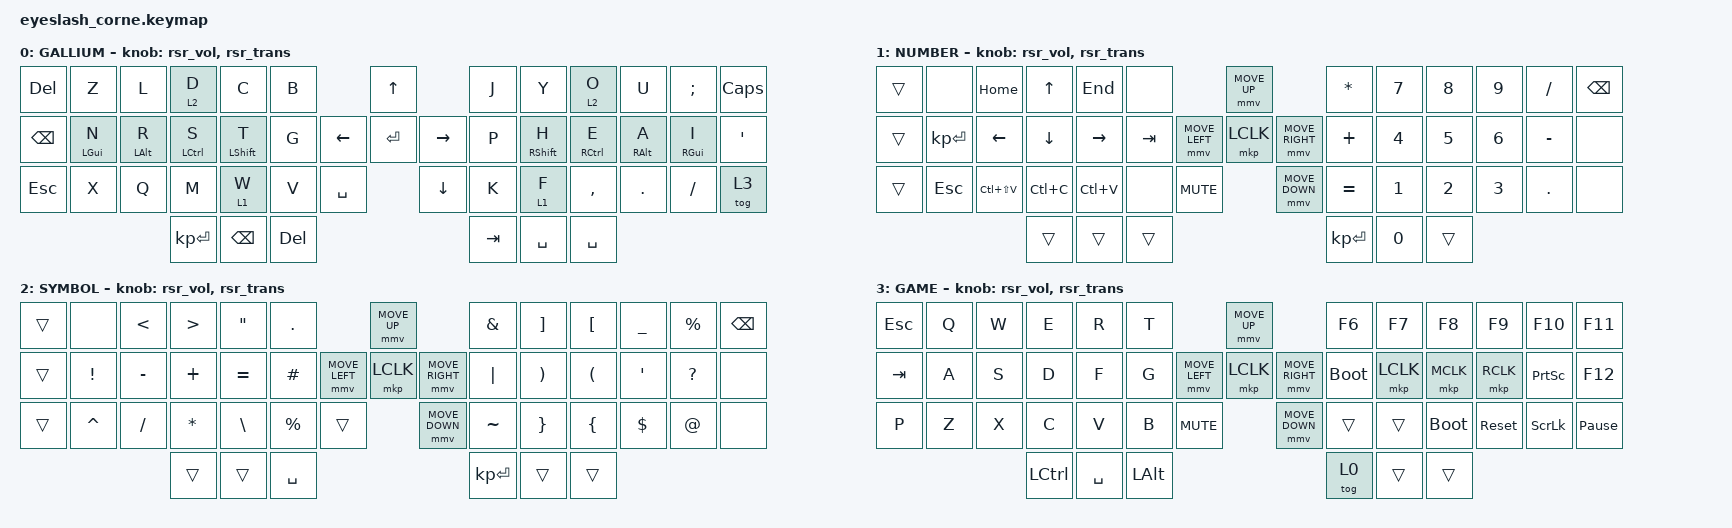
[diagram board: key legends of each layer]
#define ZMK_POINTING_DEFAULT_MOVE_VAL 1200  // 600
#define ZMK_POINTING_DEFAULT_SCRL_VAL 25   // 10

#include <input/processors.dtsi>
#include <zephyr/dt-bindings/input/input-event-codes.h>
#include <behaviors/runtime-sensor-rotate.dtsi>
#include <behaviors.dtsi>
#include <dt-bindings/zmk/keys.h>
#include <dt-bindings/zmk/pointing.h>
#include <dt-bindings/zmk/rgb.h>

&mmv_input_listener { input-processors = <&zip_xy_scaler 2 1>; };

&msc_input_listener { input-processors = <&zip_scroll_scaler 2 1>; };

&msc {
    acceleration-exponent = <1>;      // 0
    time-to-max-speed-ms = <100>;       // 300
    delay-ms = <0>;                   // 0
};

&mmv {
    time-to-max-speed-ms = <500>;
    acceleration-exponent = <1>;
    trigger-period-ms = <16>;
};

/ {
    behaviors {
        td0: td0 {
            compatible = "zmk,behavior-tap-dance";
            display-name = "Shift/Caps Lock Tap Dance";
            #binding-cells = <0>;
            bindings = <&kp LEFT_SHIFT>, <&kp CAPS>;
        };

        rsr_vol: rsr_vol {
            compatible = "zmk,behavior-runtime-sensor-rotate";
            #sensor-binding-cells = <0>;
            tap-ms = <5>;
            cw-binding = <&kp C_VOL_UP>;
            ccw-binding = <&kp C_VOL_DN>;
        };

        rsr_trans: rsr_trans {
            compatible = "zmk,behavior-runtime-sensor-rotate";
            #sensor-binding-cells = <0>;
            tap-ms = <0>;
        };

        HML: HML {
            compatible = "zmk,behavior-hold-tap";
            label = "HML";
            bindings = <&kp>, <&kp>;

            #binding-cells = <2>;
            tapping-term-ms = <180>;
            flavor = "tap-preferred";
            hold-trigger-key-positions = <7 8 9 10 11 12 22 23 24 25 26 27 36 37 38 39 40 41 45 46 47>;
        };

        HMR: HMR {
            compatible = "zmk,behavior-hold-tap";
            label = "HMR";
            bindings = <&kp>, <&kp>;

            #binding-cells = <2>;
            tapping-term-ms = <180>;
            flavor = "tap-preferred";
            hold-trigger-key-positions = <0 1 2 3 4 5 13 14 15 16 17 18 28 29 30 31 32 33 42 43 44>;
        };
    };

    rgb_encoder: rgb_encoder {
        compatible = "zmk,behavior-sensor-rotate";
        #sensor-binding-cells = <0>;
        bindings = <&rgb_ug RGB_BRI>, <&rgb_ug RGB_BRD>;
    };

    scroll_encoder: scroll_encoder {
        compatible = "zmk,behavior-sensor-rotate";
        #sensor-binding-cells = <0>;
        bindings = <&msc SCRL_DOWN>, <&msc SCRL_UP>;

        tap-ms = <100>;
    };

    keymap {
        compatible = "zmk,keymap";

        BASE {
            display-name = "GALLIUM";
            bindings = <
&kp DEL        &kp Z            &kp L        &lt 2 D       &kp C          &kp B                              &kp UP                &kp J    &kp Y               &lt 2 O               &kp U        &kp SEMICOLON  &kp CAPS
&kp BACKSPACE  &HML LEFT_GUI N  &HML LALT R  &HML LCTRL S  &HML LSHFT T   &kp G                    &kp LEFT  &kp ENTER  &kp RIGHT  &kp P    &HMR RIGHT_SHIFT H  &HMR RIGHT_CONTROL E  &HMR RALT A  &HMR RGUI I    &kp SQT
&kp ESC        &kp X            &kp Q        &kp M         &lt 1 W        &kp V       &kp SPACE              &kp DOWN              &kp K    &lt 1 F             &kp COMMA             &kp DOT      &kp FSLH       &tog 3
                                             &kp KP_ENTER  &kp BACKSPACE  &kp DELETE                                               &kp TAB  &kp SPACE           &kp SPACE
            >;

            sensor-bindings = <&rsr_vol &rsr_trans>;
        };

        NUMBER {
            display-name = "NUMBER";
            bindings = <
&trans  &none         &kp HOME        &kp UP_ARROW    &kp END          &none                                  &mmv MOVE_UP                     &kp ASTERISK  &kp N7        &kp N8        &kp N9        &kp SLASH   &kp BSPC
&trans  &kp KP_ENTER  &kp LEFT_ARROW  &kp DOWN_ARROW  &kp RIGHT_ARROW  &kp TAB                &mmv MOVE_LEFT  &mkp LCLK       &mmv MOVE_RIGHT  &kp PLUS      &kp NUMBER_4  &kp N5        &kp NUMBER_6  &kp MINUS   &none
&trans  &kp ESC       &kp LC(LS(V))   &kp LC(C)       &kp LC(V)        &none    &kp C_MUTE                    &mmv MOVE_DOWN                   &kp EQUAL     &kp NUMBER_1  &kp NUMBER_2  &kp NUMBER_3  &kp PERIOD  &none
                                      &trans          &trans           &trans                                                                  &kp KP_ENTER  &kp NUMBER_0  &trans
            >;

            sensor-bindings = <&rsr_vol &rsr_trans>;
        };

        SYMBOL {
            display-name = "SYMBOL";
            bindings = <
&trans  &none            &kp LESS_THAN  &kp GREATER_THAN  &kp DOUBLE_QUOTES  &kp PERIOD                             &mmv MOVE_UP                     &kp AMPERSAND  &kp RIGHT_BRACKET      &kp LEFT_BRACKET      &kp UNDERSCORE  &kp PERCENT   &kp BSPC
&trans  &kp EXCLAMATION  &kp MINUS      &kp PLUS          &kp EQUAL          &kp HASH               &mmv MOVE_LEFT  &mkp LCLK       &mmv MOVE_RIGHT  &kp PIPE       &kp RIGHT_PARENTHESIS  &kp LEFT_PARENTHESIS  &kp SQT         &kp QUESTION  &none
&trans  &kp CARET        &kp SLASH      &kp ASTERISK      &kp BACKSLASH      &kp PERCENT  &trans                    &mmv MOVE_DOWN                   &kp TILDE      &kp RIGHT_BRACE        &kp LBRC              &kp DOLLAR      &kp AT_SIGN   &none
                                        &trans            &trans             &kp SPACE                                                               &kp KP_ENTER   &trans                 &trans
            >;

            sensor-bindings = <&rsr_vol &rsr_trans>;
        };

        GAME {
            display-name = "GAME";
            bindings = <
&kp ESC  &kp Q  &kp W  &kp E      &kp R      &kp T                                   &mmv MOVE_UP                     &kp F6       &kp F7     &kp F8       &kp F9      &kp F10          &kp F11
&kp TAB  &kp A  &kp S  &kp D      &kp F      &kp G                   &mmv MOVE_LEFT  &mkp LCLK       &mmv MOVE_RIGHT  &bootloader  &mkp LCLK  &mkp MCLK    &mkp RCLK   &kp PRINTSCREEN  &kp F12
&kp P    &kp Z  &kp X  &kp C      &kp V      &kp B     &kp C_MUTE                    &mmv MOVE_DOWN                   &trans       &trans     &bootloader  &sys_reset  &kp SCROLLLOCK   &kp PAUSE_BREAK
                       &kp LCTRL  &kp SPACE  &kp LALT                                                                 &tog 0       &trans     &trans
            >;

            sensor-bindings = <&rsr_vol &rsr_trans>;
        };
    };
};
